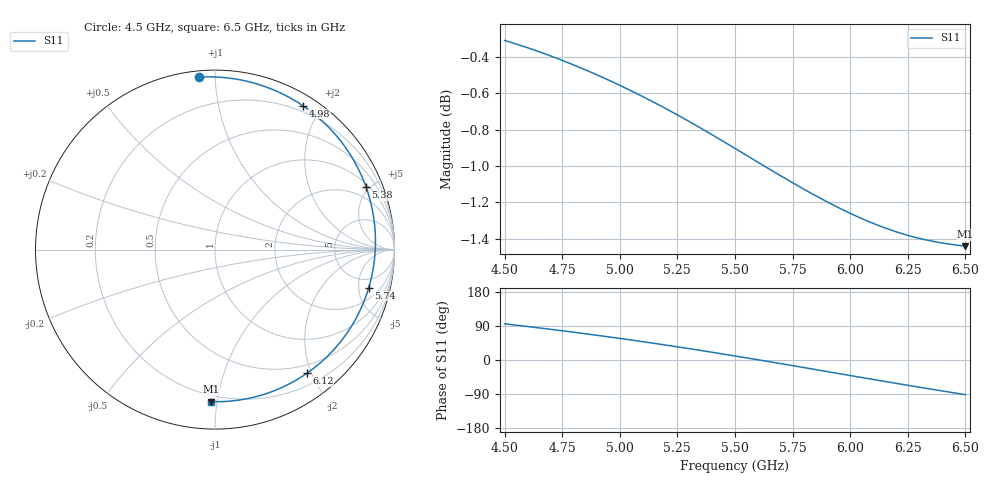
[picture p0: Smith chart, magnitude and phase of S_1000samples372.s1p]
! TOUCHSTONE file generated by CST MICROWAVE STUDIO
! Date and time: Thu Oct 27 22:49:33 2022
! Project name: L.cst
! Parameters = {Di=1.27; Epsilon_r=1.56; InnerDiameter=1.27; Length=2; Lf=10; Lg=60; OuterConductorThickness=0.2921; OuterDiameter=3.6; Wf=3; Wp=41.2; de=1.5; df=6.8; g=0.8; gx=4.12284; gy=3.8156; h=2.34; hf=1.524; px=9.54125; py=11.4508; w=9.7; wx=5.41841; wy=7.63518}
! Header version: 2018
! Port assignment regex: !\s*Touchstone port\s*([0-9]+)\s*=\s*(CST MWS port|CST DS port)\s*([0-9]+|Zmin|Zmax)\s*\(\"(.*)\"\)(\s*mode\s*([0-9]+))?.*
! Touchstone port assignment:
! Touchstone port 1 = CST MWS port 1 ("")
# GHz S DB R 50
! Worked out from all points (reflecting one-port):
!   101 points, 4.5 GHz to 6.5 GHz, reference 50 ohm
!   lowest |S11| = -1.4 dB at 6.5 GHz (marker M1), VSWR 12.08, Z = 8.02 - j48.1 ohm
!   phase of S11 starts at 95 deg and turns -187 deg over the sweep
!   S11 on the Smith chart (normalised r, x): 4.5 GHz: 0.03, +0.91; 4.98 GHz: 0.13, +1.77; 5.38 GHz: 1.17, +4.77; 5.74 GHz: 3.40, -6.49; 6.12 GHz: 0.37, -1.93; 6.5 GHz: 0.16, -0.96
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4.5  -0.31 95.4
4.64  -0.37 85.4
4.76  -0.42 76.3
4.88  -0.49 66.8
4.98  -0.54 58.6
5  -0.56 56.9
5.12  -0.63 46.5
5.18  -0.67 41.2
5.26  -0.73 33.8
5.38  -0.81 22.4
5.44  -0.86 16.6
5.5  -0.90 10.6
5.56  -0.95 4.6
5.62  -0.99 -1.5
5.68  -1.04 -7.6
5.74  -1.08 -13.8
5.76  -1.10 -15.9
5.82  -1.14 -22.2
5.88  -1.18 -28.5
6  -1.26 -41.0
6.06  -1.29 -47.2
6.12  -1.33 -53.5
6.2  -1.36 -61.7
6.26  -1.39 -67.8
6.32  -1.40 -73.8
6.38  -1.42 -79.7
6.44  -1.43 -85.6
6.5  -1.44 -91.5
